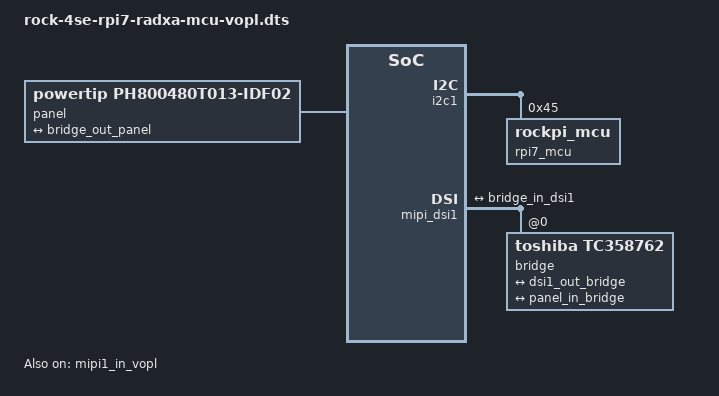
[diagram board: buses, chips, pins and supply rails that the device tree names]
// SPDX-License-Identifier: (GPL-2.0+ OR MIT)
/*
 * Raspberry Pi 7" / DFR0678 touchscreen on the Radxa ROCK 4SE, Radxa-style,
 * variant: DSI1 fed by the little VOP (VOPL), like Radxa's kernel.
 *
 * Identical to rock-4se-rpi7-radxa-mcu, plus the big VOP (VOPB) is disabled.
 * The stock Armbian graph links DSI1 to both VOPs and the DRM core picks the
 * first one it binds (VOPB, GRF SOC_CON20 = 0x249); endpoint "status" is not
 * honoured by mainline DRM, so the "mipi1_in_vopb disabled" of the other
 * overlays never took effect. Radxa's kernel runs DSI1 from VOPL
 * (SOC_CON20 = 0x259). With VOPB disabled the only possible CRTC is VOPL.
 *
 * Side effect: HDMI can then only use VOPL, so do not use HDMI at the same
 * time as this overlay. Revert by installing another variant.
 *
 * Needs the kernel patches rk3399-dsi1-dsi0-pll, dsi-lane-rate-override,
 * dfr0678-radxa-timing and tc358762-rpi7-radxa-bringup, and no other overlay
 * touching I2C1 address 0x45.
 */

/dts-v1/;
/plugin/;

&{/} {
	panel {
		compatible = "powertip,ph800480t013-idf02";

		port {
			panel_in_bridge: endpoint {
				remote-endpoint = <&bridge_out_panel>;
			};
		};
	};
};

&i2c1 {
	#address-cells = <1>;
	#size-cells = <0>;
	status = "okay";

	rpi7_mcu: mcu@45 {
		compatible = "rockpi_mcu";
		reg = <0x45>;
	};
};

&vopb {
	status = "disabled";
};

&mipi1_in_vopb {
	status = "disabled";
};

&mipi1_in_vopl {
	status = "okay";
};

&mipi_dsi1 {
	#address-cells = <1>;
	#size-cells = <0>;
	status = "okay";

	/* DSI0 supplies the shared PHY PLL while staying disabled */
	rockchip,dsi-dsi0 = <&mipi_dsi>;
	rockchip,lane-rate = <696>;

	bridge@0 {
		compatible = "toshiba,tc358762";
		reg = <0>;

		toshiba,radxa-rpi7-init;
		toshiba,radxa-mcu = <&rpi7_mcu>;
		toshiba,debug-readback;

		ports {
			#address-cells = <1>;
			#size-cells = <0>;

			port@0 {
				reg = <0>;

				bridge_in_dsi1: endpoint {
					remote-endpoint = <&dsi1_out_bridge>;
				};
			};

			port@1 {
				reg = <1>;

				bridge_out_panel: endpoint {
					remote-endpoint = <&panel_in_bridge>;
				};
			};
		};
	};

	ports {
		#address-cells = <1>;
		#size-cells = <0>;

		port@1 {
			reg = <1>;

			dsi1_out_bridge: endpoint {
				remote-endpoint = <&bridge_in_dsi1>;
			};
		};
	};
};
